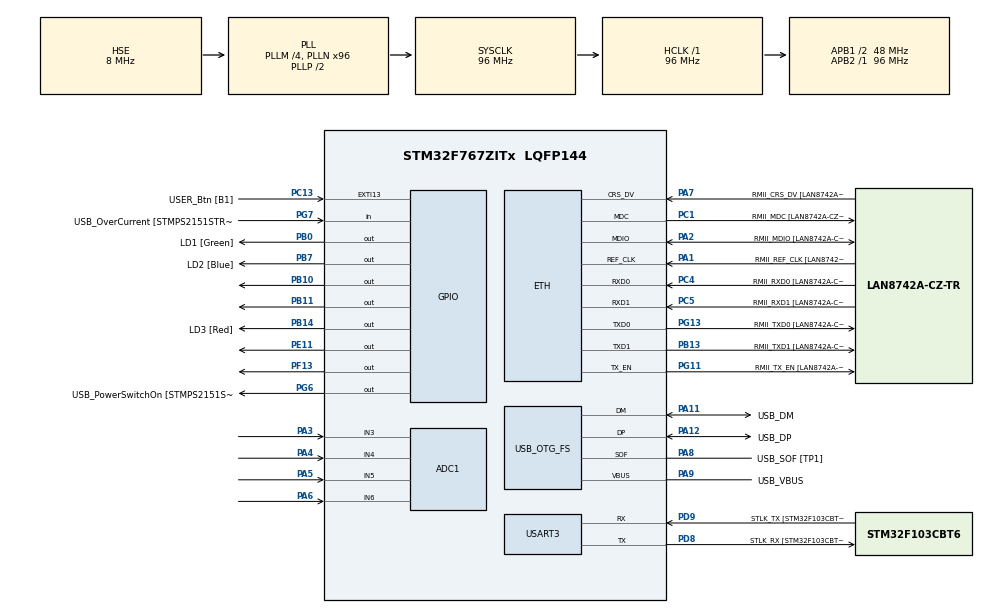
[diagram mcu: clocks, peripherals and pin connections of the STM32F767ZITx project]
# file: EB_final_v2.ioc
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ADC1.Channel-0\#ChannelRegularConversion=ADC_CHANNEL_3
ADC1.Channel-1\#ChannelRegularConversion=ADC_CHANNEL_4
ADC1.Channel-2\#ChannelRegularConversion=ADC_CHANNEL_5
ADC1.Channel-3\#ChannelRegularConversion=ADC_CHANNEL_6
ADC1.ContinuousConvMode=ENABLE
ADC1.DMAContinuousRequests=ENABLE
ADC1.NbrOfConversion=4
ADC1.NbrOfConversionFlag=1
ADC1.Rank-0\#ChannelRegularConversion=1
ADC1.Rank-1\#ChannelRegularConversion=2
ADC1.Rank-2\#ChannelRegularConversion=3
ADC1.Rank-3\#ChannelRegularConversion=4
ADC1.SamplingTime-0\#ChannelRegularConversion=ADC_SAMPLETIME_3CYCLES
ADC1.SamplingTime-1\#ChannelRegularConversion=ADC_SAMPLETIME_3CYCLES
ADC1.SamplingTime-2\#ChannelRegularConversion=ADC_SAMPLETIME_3CYCLES
ADC1.SamplingTime-3\#ChannelRegularConversion=ADC_SAMPLETIME_3CYCLES
ADC1.ScanConvMode=ADC_SCAN_ENABLE
ADC1.master=1
Dma.ADC1.0.Direction=DMA_PERIPH_TO_MEMORY
Dma.ADC1.0.FIFOMode=DMA_FIFOMODE_DISABLE
Dma.ADC1.0.Instance=DMA2_Stream0
Dma.ADC1.0.MemDataAlignment=DMA_MDATAALIGN_HALFWORD
Dma.ADC1.0.MemInc=DMA_MINC_ENABLE
Dma.ADC1.0.Mode=DMA_CIRCULAR
Dma.ADC1.0.PeriphDataAlignment=DMA_PDATAALIGN_HALFWORD
Dma.ADC1.0.PeriphInc=DMA_PINC_DISABLE
Dma.ADC1.0.Priority=DMA_PRIORITY_LOW
Dma.Request0=ADC1
ETH.MediaInterface=HAL_ETH_RMII_MODE
ETH.PHY_Name=LAN8742A_PHY_ADDRESS
ETH.PHY_Value=0
ETH.PhyAddress=0
Mcu.Family=STM32F7
Mcu.Name=STM32F767ZITx
Mcu.Package=LQFP144
NVIC.DMA2_Stream0_IRQn=true\:0\:0\:false\:false\:true\:false\:true\:true
NVIC.PriorityGroup=NVIC_PRIORITYGROUP_4
PA1.GPIO_Label=RMII_REF_CLK [LAN8742A-CZ-TR_REFCLK0]
PA1.Mode=RMII
PA1.Signal=ETH_REF_CLK
PA10.GPIO_Label=USB_ID
PA10.Signal=USB_OTG_FS_ID
PA11.GPIO_Label=USB_DM
PA11.Mode=Device_Only
PA11.Signal=USB_OTG_FS_DM
PA12.GPIO_Label=USB_DP
PA12.Mode=Device_Only
PA12.Signal=USB_OTG_FS_DP
PA13.GPIO_Label=TMS
PA13.Mode=Serial_Wire
PA13.Signal=SYS_JTMS-SWDIO
PA14.GPIO_Label=TCK
PA14.Mode=Serial_Wire
PA14.Signal=SYS_JTCK-SWCLK
PA2.GPIO_Label=RMII_MDIO [LAN8742A-CZ-TR_MDIO]
PA2.Mode=RMII
PA2.Signal=ETH_MDIO
PA3.Signal=ADCx_IN3
PA4.Signal=ADCx_IN4
PA5.Signal=ADCx_IN5
PA6.Signal=ADCx_IN6
PA7.GPIO_Label=RMII_CRS_DV [LAN8742A-CZ-TR_CRS_DV]
PA7.Mode=RMII
PA7.Signal=ETH_CRS_DV
PA8.GPIO_Label=USB_SOF [TP1]
PA8.Mode=Activate_SOF_FS
PA8.Signal=USB_OTG_FS_SOF
PA9.GPIO_Label=USB_VBUS
PA9.Mode=Activate_VBUS
PA9.Signal=USB_OTG_FS_VBUS
PB0.GPIO_Label=LD1 [Green]
PB0.Signal=GPIO_Output
PB10.Signal=GPIO_Output
PB11.Signal=GPIO_Output
PB13.GPIO_Label=RMII_TXD1 [LAN8742A-CZ-TR_TXD1]
PB13.Mode=RMII
PB13.Signal=ETH_TXD1
PB14.GPIO_Label=LD3 [Red]
PB14.Signal=GPIO_Output
PB3.GPIO_Label=SWO
PB3.Signal=SYS_JTDO-SWO
PB7.GPIO_Label=LD2 [Blue]
PB7.Signal=GPIO_Output
PC1.GPIO_Label=RMII_MDC [LAN8742A-CZ-TR_MDC]
PC1.Mode=RMII
PC1.Signal=ETH_MDC
PC13.GPIO_Label=USER_Btn [B1]
PC13.Signal=GPXTI13
PC14/OSC32_IN.Mode=LSE-External-Oscillator
PC14/OSC32_IN.Signal=RCC_OSC32_IN
PC15/OSC32_OUT.Mode=LSE-External-Oscillator
PC15/OSC32_OUT.Signal=RCC_OSC32_OUT
PC4.GPIO_Label=RMII_RXD0 [LAN8742A-CZ-TR_RXD0]
PC4.Mode=RMII
PC4.Signal=ETH_RXD0
PC5.GPIO_Label=RMII_RXD1 [LAN8742A-CZ-TR_RXD1]
PC5.Mode=RMII
PC5.Signal=ETH_RXD1
PD8.GPIO_Label=STLK_RX [STM32F103CBT6_PA3]
PD8.Mode=Asynchronous
PD8.Signal=USART3_TX
PD9.GPIO_Label=STLK_TX [STM32F103CBT6_PA2]
PD9.Mode=Asynchronous
PD9.Signal=USART3_RX
PE11.GPIO_PuPd=GPIO_NOPULL
PE11.PinState=GPIO_PIN_SET
PE11.Signal=GPIO_Output
PF13.GPIO_PuPd=GPIO_NOPULL
PF13.PinState=GPIO_PIN_SET
PF13.Signal=GPIO_Output
PG11.GPIO_Label=RMII_TX_EN [LAN8742A-CZ-TR_TXEN]
PG11.Mode=RMII
PG11.Signal=ETH_TX_EN
PG13.GPIO_Label=RMII_TXD0 [LAN8742A-CZ-TR_TXD0]
PG13.Mode=RMII
PG13.Signal=ETH_TXD0
PG6.GPIO_Label=USB_PowerSwitchOn [STMPS2151STR_EN]
PG6.Signal=GPIO_Output
PG7.GPIO_Label=USB_OverCurrent [STMPS2151STR_FAULT]
PG7.Signal=GPIO_Input
PH0/OSC_IN.GPIO_Label=MCO [STM32F103CBT6_PA8]
PH0/OSC_IN.Mode=HSE-External-Clock-Source
PH0/OSC_IN.Signal=RCC_OSC_IN
PH1/OSC_OUT.Mode=HSE-External-Clock-Source
PH1/OSC_OUT.Signal=RCC_OSC_OUT
ProjectManager.HeapSize=0x200
ProjectManager.StackSize=0x400
ProjectManager.TargetToolchain=STM32CubeIDE
RCC.48MHZClocksFreq_Value=24000000
RCC.AHBFreq_Value=96000000
RCC.APB1CLKDivider=RCC_HCLK_DIV2
RCC.APB1Freq_Value=48000000
RCC.APB1TimFreq_Value=96000000
RCC.APB2Freq_Value=96000000
RCC.APB2TimFreq_Value=96000000
RCC.CortexFreq_Value=96000000
RCC.HCLKFreq_Value=96000000
RCC.HSE_VALUE=8000000
RCC.HSI_VALUE=16000000
RCC.PLLM=4
RCC.PLLMUL=RCC_PLL_MUL9
RCC.PLLN=96
RCC.PLLQ=4
RCC.PRESCALERUSB=RCC_USBCLKSOURCE_PLL_DIV1_5
RCC.SYSCLKFreq_VALUE=96000000
RCC.SYSCLKSource=RCC_SYSCLKSOURCE_PLLCLK
RCC.SYSCLKSourceVirtual=RCC_SYSCLKSOURCE_PLLCLK
RCC.USBFreq_Value=48000000
RCC.VCOOutputFreq_Value=192000000
SH.ADCx_IN3.0=ADC1_IN3,IN3
SH.ADCx_IN4.0=ADC1_IN4,IN4
SH.ADCx_IN5.0=ADC1_IN5,IN5
SH.ADCx_IN6.0=ADC1_IN6,IN6
TIM1.Period=1000
TIM1.Prescaler=900
USART3.VirtualMode-Asynchronous=VM_ASYNC
USB_OTG_FS.VirtualMode=Device_Only
VP_TIM1_VS_ClockSourceINT.Mode=Internal
board=NUCLEO-F767ZI

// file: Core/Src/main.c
/* USER CODE BEGIN Header */
/**
  ******************************************************************************
  * @file           : main.c
  * @brief          : Main program body
  ******************************************************************************
  * @attention
  *
  * Copyright (c) 2023 STMicroelectronics.
  * All rights reserved.
  *
  * This software is licensed under terms that can be found in the LICENSE file
  * in the root directory of this software component.
  * If no LICENSE file comes with this software, it is provided AS-IS.
  *
  ******************************************************************************
  */
/* USER CODE END Header */
#include "main.h"
#include "string.h"

/* USER CODE BEGIN Includes */

#include "stdio.h"
#include "stdint.h"
/* USER CODE END Includes */

#if defined ( __ICCARM__ ) /*!< IAR Compiler */
#pragma location=0x2007c000
ETH_DMADescTypeDef  DMARxDscrTab[ETH_RX_DESC_CNT]; /* Ethernet Rx DMA Descriptors */
#pragma location=0x2007c0a0
ETH_DMADescTypeDef  DMATxDscrTab[ETH_TX_DESC_CNT]; /* Ethernet Tx DMA Descriptors */

#elif defined ( __CC_ARM )  /* MDK ARM Compiler */

__attribute__((at(0x2007c000))) ETH_DMADescTypeDef  DMARxDscrTab[ETH_RX_DESC_CNT]; /* Ethernet Rx DMA Descriptors */
__attribute__((at(0x2007c0a0))) ETH_DMADescTypeDef  DMATxDscrTab[ETH_TX_DESC_CNT]; /* Ethernet Tx DMA Descriptors */

#elif defined ( __GNUC__ ) /* GNU Compiler */
ETH_DMADescTypeDef DMARxDscrTab[ETH_RX_DESC_CNT] __attribute__((section(".RxDecripSection"))); /* Ethernet Rx DMA Descriptors */
ETH_DMADescTypeDef DMATxDscrTab[ETH_TX_DESC_CNT] __attribute__((section(".TxDecripSection")));   /* Ethernet Tx DMA Descriptors */

#endif

ETH_TxPacketConfig TxConfig;

ADC_HandleTypeDef hadc1;
DMA_HandleTypeDef hdma_adc1;

ETH_HandleTypeDef heth;

TIM_HandleTypeDef htim1;

UART_HandleTypeDef huart3;

PCD_HandleTypeDef hpcd_USB_OTG_FS;

void SystemClock_Config(void);
static void MX_GPIO_Init(void);
static void MX_DMA_Init(void);
static void MX_USART3_UART_Init(void);
static void MX_USB_OTG_FS_PCD_Init(void);
static void MX_ADC1_Init(void);
static void MX_ETH_Init(void);
static void MX_TIM1_Init(void);

/* USER CODE BEGIN 0 */

// This array hold the the channels ADC value
volatile uint16_t adc_dma_result[4];

// This variable calculate the array length.
// In our case, array size in 3
int adc_channel_count = sizeof(adc_dma_result)/sizeof(adc_dma_result[0]);
uint8_t adc_conv_complete_flag = 0;

// This character buffer array will
// store the result after conversion complete
//char dma_result_buffer[100];

int _write(int file, char *ptr, int len){
	int i=0;
	for(i=0;i<len;i++){
		ITM_SendChar((*ptr++));
	}
	return len;
}

int flag_forward, flag_backwoard, flag_left, flag_right;

void HAL_ADC_ConvCpltCallback(ADC_HandleTypeDef* hadc){

	  if (adc_dma_result[0] >= 3800){
		  //forward
		  printf("forward\n");
		  flag_forward = 1;
		  HAL_GPIO_WritePin(GPIOF, GPIO_PIN_13, 1); // Motor Left Forward
		  HAL_GPIO_WritePin(GPIOE, GPIO_PIN_11, 0); // Motor Left Backward

		  HAL_GPIO_WritePin(GPIOB, GPIO_PIN_10, 1); // Motor Right Forward
		  HAL_GPIO_WritePin(GPIOB, GPIO_PIN_11, 0); // Motor Right Backward
	  }else{
		  flag_forward = 0;
	  }
	  if (adc_dma_result[1] >= 3800){
		  //backward
		  printf("backward\n");
		  flag_backwoard =1;
		  HAL_GPIO_WritePin(GPIOF, GPIO_PIN_13, 0); // Motor Left Forward
		  HAL_GPIO_WritePin(GPIOE, GPIO_PIN_11, 1); // Motor Left Backward

		  HAL_GPIO_WritePin(GPIOB, GPIO_PIN_10, 0); // Motor Right Forward
		  HAL_GPIO_WritePin(GPIOB, GPIO_PIN_11, 1); // Motor Right Backward
	  }else{
		  flag_backwoard = 0;
	  }
	  if (adc_dma_result[2] >= 3800){
		  //left
		  printf("left\n");
		  flag_left = 1;
		  HAL_GPIO_WritePin(GPIOF, GPIO_PIN_13, 0); // Motor Left Forward
		  HAL_GPIO_WritePin(GPIOE, GPIO_PIN_11, 1); // Motor Left Backward

		  HAL_GPIO_WritePin(GPIOB, GPIO_PIN_10, 1); // Motor Right Forward
		  HAL_GPIO_WritePin(GPIOB, GPIO_PIN_11, 0); // Motor Right Backward
	  }else{
		  flag_left = 0;
	  }
	  if (adc_dma_result[3] >= 3800){
		  //right
		  printf("right\n");
		  flag_right =1;
		  HAL_GPIO_WritePin(GPIOF, GPIO_PIN_13, 1); // Motor Left Forward
		  HAL_GPIO_WritePin(GPIOE, GPIO_PIN_11, 0); // Motor Left Backward

		  HAL_GPIO_WritePin(GPIOB, GPIO_PIN_10, 0); // Motor Right Forward
		  HAL_GPIO_WritePin(GPIOB, GPIO_PIN_11, 1); // Motor Right Backward
	  }else{
		flag_right =0;
	  }
	  if (flag_forward + flag_backwoard + flag_left + flag_right != 1) {
		  HAL_GPIO_WritePin(GPIOF, GPIO_PIN_13, 0); // Motor Left Forward
		  HAL_GPIO_WritePin(GPIOE, GPIO_PIN_11, 0); // Motor Left Backward

		  HAL_GPIO_WritePin(GPIOB, GPIO_PIN_10, 0); // Motor Right Forward
		  HAL_GPIO_WritePin(GPIOB, GPIO_PIN_11, 0); // Motor Right Backward
	  }
}

/* USER CODE END 0 */

int main(void)
{
  /* USER CODE BEGIN 1 */
	flag_forward = 0;
	flag_backwoard = 0;
	flag_left = 0;
	flag_right = 0;

  /* USER CODE END 1 */

  /* MCU Configuration--------------------------------------------------------*/

  /* Reset of all peripherals, Initializes the Flash interface and the Systick. */
  HAL_Init();

  /* Configure the system clock */
  SystemClock_Config();

  /* Initialize all configured peripherals */
  MX_GPIO_Init();
  MX_DMA_Init();
  MX_USART3_UART_Init();
  MX_USB_OTG_FS_PCD_Init();
  MX_ADC1_Init();
  MX_ETH_Init();
  MX_TIM1_Init();
  /* USER CODE BEGIN 2 */
  // Initialize the DMA conversion
  HAL_ADC_Start_DMA(&hadc1, (uint32_t *) adc_dma_result , adc_channel_count);

  /* USER CODE END 2 */

  /* Infinite loop */
  while (1)
  {

  }
}

void SystemClock_Config(void)
{
  RCC_OscInitTypeDef RCC_OscInitStruct = {0};
  RCC_ClkInitTypeDef RCC_ClkInitStruct = {0};

  /** Configure LSE Drive Capability
  */
  HAL_PWR_EnableBkUpAccess();

  /** Configure the main internal regulator output voltage
  */
  __HAL_RCC_PWR_CLK_ENABLE();
  __HAL_PWR_VOLTAGESCALING_CONFIG(PWR_REGULATOR_VOLTAGE_SCALE3);

  /** Initializes the RCC Oscillators according to the specified parameters
  * in the RCC_OscInitTypeDef structure.
  */
  RCC_OscInitStruct.OscillatorType = RCC_OSCILLATORTYPE_HSE;
  RCC_OscInitStruct.HSEState = RCC_HSE_BYPASS;
  RCC_OscInitStruct.PLL.PLLState = RCC_PLL_ON;
  RCC_OscInitStruct.PLL.PLLSource = RCC_PLLSOURCE_HSE;
  RCC_OscInitStruct.PLL.PLLM = 4;
  RCC_OscInitStruct.PLL.PLLN = 96;
  RCC_OscInitStruct.PLL.PLLP = RCC_PLLP_DIV2;
  RCC_OscInitStruct.PLL.PLLQ = 4;
  RCC_OscInitStruct.PLL.PLLR = 2;
  if (HAL_RCC_OscConfig(&RCC_OscInitStruct) != HAL_OK)
  {
    Error_Handler();
  }

  /** Activate the Over-Drive mode
  */
  if (HAL_PWREx_EnableOverDrive() != HAL_OK)
  {
    Error_Handler();
  }

  /** Initializes the CPU, AHB and APB buses clocks
  */
  RCC_ClkInitStruct.ClockType = RCC_CLOCKTYPE_HCLK|RCC_CLOCKTYPE_SYSCLK
                              |RCC_CLOCKTYPE_PCLK1|RCC_CLOCKTYPE_PCLK2;
  RCC_ClkInitStruct.SYSCLKSource = RCC_SYSCLKSOURCE_PLLCLK;
  RCC_ClkInitStruct.AHBCLKDivider = RCC_SYSCLK_DIV1;
  RCC_ClkInitStruct.APB1CLKDivider = RCC_HCLK_DIV2;
  RCC_ClkInitStruct.APB2CLKDivider = RCC_HCLK_DIV1;

  if (HAL_RCC_ClockConfig(&RCC_ClkInitStruct, FLASH_LATENCY_3) != HAL_OK)
  {
    Error_Handler();
  }
}

static void MX_ADC1_Init(void)
{

  ADC_ChannelConfTypeDef sConfig = {0};

  /** Configure the global features of the ADC (Clock, Resolution, Data Alignment and number of conversion)
  */
  hadc1.Instance = ADC1;
  hadc1.Init.ClockPrescaler = ADC_CLOCK_SYNC_PCLK_DIV4;
  hadc1.Init.Resolution = ADC_RESOLUTION_12B;
  hadc1.Init.ScanConvMode = ADC_SCAN_ENABLE;
  hadc1.Init.ContinuousConvMode = ENABLE;
  hadc1.Init.DiscontinuousConvMode = DISABLE;
  hadc1.Init.ExternalTrigConvEdge = ADC_EXTERNALTRIGCONVEDGE_NONE;
  hadc1.Init.ExternalTrigConv = ADC_SOFTWARE_START;
  hadc1.Init.DataAlign = ADC_DATAALIGN_RIGHT;
  hadc1.Init.NbrOfConversion = 4;
  hadc1.Init.DMAContinuousRequests = ENABLE;
  hadc1.Init.EOCSelection = ADC_EOC_SINGLE_CONV;
  if (HAL_ADC_Init(&hadc1) != HAL_OK)
  {
    Error_Handler();
  }

  /** Configure for the selected ADC regular channel its corresponding rank in the sequencer and its sample time.
  */
  sConfig.Channel = ADC_CHANNEL_3;
  sConfig.Rank = ADC_REGULAR_RANK_1;
  sConfig.SamplingTime = ADC_SAMPLETIME_3CYCLES;
  if (HAL_ADC_ConfigChannel(&hadc1, &sConfig) != HAL_OK)
  {
    Error_Handler();
  }

  /** Configure for the selected ADC regular channel its corresponding rank in the sequencer and its sample time.
  */
  sConfig.Channel = ADC_CHANNEL_4;
  sConfig.Rank = ADC_REGULAR_RANK_2;
  if (HAL_ADC_ConfigChannel(&hadc1, &sConfig) != HAL_OK)
  {
    Error_Handler();
  }

  /** Configure for the selected ADC regular channel its corresponding rank in the sequencer and its sample time.
  */
  sConfig.Channel = ADC_CHANNEL_5;
  sConfig.Rank = ADC_REGULAR_RANK_3;
  if (HAL_ADC_ConfigChannel(&hadc1, &sConfig) != HAL_OK)
  {
    Error_Handler();
  }

  /** Configure for the selected ADC regular channel its corresponding rank in the sequencer and its sample time.
  */
  sConfig.Channel = ADC_CHANNEL_6;
  sConfig.Rank = ADC_REGULAR_RANK_4;
  if (HAL_ADC_ConfigChannel(&hadc1, &sConfig) != HAL_OK)
  {
    Error_Handler();
  }

}

static void MX_ETH_Init(void)
{

   static uint8_t MACAddr[6];

  heth.Instance = ETH;
  MACAddr[0] = 0x00;
  MACAddr[1] = 0x80;
  MACAddr[2] = 0xE1;
  MACAddr[3] = 0x00;
  MACAddr[4] = 0x00;
  MACAddr[5] = 0x00;
  heth.Init.MACAddr = &MACAddr[0];
  heth.Init.MediaInterface = HAL_ETH_RMII_MODE;
  heth.Init.TxDesc = DMATxDscrTab;
  heth.Init.RxDesc = DMARxDscrTab;
  heth.Init.RxBuffLen = 1524;

  if (HAL_ETH_Init(&heth) != HAL_OK)
  {
    Error_Handler();
  }

  memset(&TxConfig, 0 , sizeof(ETH_TxPacketConfig));
  TxConfig.Attributes = ETH_TX_PACKETS_FEATURES_CSUM | ETH_TX_PACKETS_FEATURES_CRCPAD;
  TxConfig.ChecksumCtrl = ETH_CHECKSUM_IPHDR_PAYLOAD_INSERT_PHDR_CALC;
  TxConfig.CRCPadCtrl = ETH_CRC_PAD_INSERT;

}

static void MX_TIM1_Init(void)
{

  TIM_ClockConfigTypeDef sClockSourceConfig = {0};
  TIM_MasterConfigTypeDef sMasterConfig = {0};

  htim1.Instance = TIM1;
  htim1.Init.Prescaler = 900;
  htim1.Init.CounterMode = TIM_COUNTERMODE_UP;
  htim1.Init.Period = 1000;
  htim1.Init.ClockDivision = TIM_CLOCKDIVISION_DIV1;
  htim1.Init.RepetitionCounter = 0;
  htim1.Init.AutoReloadPreload = TIM_AUTORELOAD_PRELOAD_DISABLE;
  if (HAL_TIM_Base_Init(&htim1) != HAL_OK)
  {
    Error_Handler();
  }
  sClockSourceConfig.ClockSource = TIM_CLOCKSOURCE_INTERNAL;
  if (HAL_TIM_ConfigClockSource(&htim1, &sClockSourceConfig) != HAL_OK)
  {
    Error_Handler();
  }
  sMasterConfig.MasterOutputTrigger = TIM_TRGO_RESET;
  sMasterConfig.MasterOutputTrigger2 = TIM_TRGO2_RESET;
  sMasterConfig.MasterSlaveMode = TIM_MASTERSLAVEMODE_DISABLE;
  if (HAL_TIMEx_MasterConfigSynchronization(&htim1, &sMasterConfig) != HAL_OK)
  {
    Error_Handler();
  }

}

static void MX_USART3_UART_Init(void)
{

  huart3.Instance = USART3;
  huart3.Init.BaudRate = 115200;
  huart3.Init.WordLength = UART_WORDLENGTH_8B;
  huart3.Init.StopBits = UART_STOPBITS_1;
  huart3.Init.Parity = UART_PARITY_NONE;
  huart3.Init.Mode = UART_MODE_TX_RX;
  huart3.Init.HwFlowCtl = UART_HWCONTROL_NONE;
  huart3.Init.OverSampling = UART_OVERSAMPLING_16;
  huart3.Init.OneBitSampling = UART_ONE_BIT_SAMPLE_DISABLE;
  huart3.AdvancedInit.AdvFeatureInit = UART_ADVFEATURE_NO_INIT;
  if (HAL_UART_Init(&huart3) != HAL_OK)
  {
    Error_Handler();
  }

}

static void MX_USB_OTG_FS_PCD_Init(void)
{

  hpcd_USB_OTG_FS.Instance = USB_OTG_FS;
  hpcd_USB_OTG_FS.Init.dev_endpoints = 6;
  hpcd_USB_OTG_FS.Init.speed = PCD_SPEED_FULL;
  hpcd_USB_OTG_FS.Init.dma_enable = DISABLE;
  hpcd_USB_OTG_FS.Init.phy_itface = PCD_PHY_EMBEDDED;
  hpcd_USB_OTG_FS.Init.Sof_enable = ENABLE;
  hpcd_USB_OTG_FS.Init.low_power_enable = DISABLE;
  hpcd_USB_OTG_FS.Init.lpm_enable = DISABLE;
  hpcd_USB_OTG_FS.Init.vbus_sensing_enable = ENABLE;
  hpcd_USB_OTG_FS.Init.use_dedicated_ep1 = DISABLE;
  if (HAL_PCD_Init(&hpcd_USB_OTG_FS) != HAL_OK)
  {
    Error_Handler();
  }

}

static void MX_DMA_Init(void)
{

  /* DMA controller clock enable */
  __HAL_RCC_DMA2_CLK_ENABLE();

  /* DMA interrupt init */
  /* DMA2_Stream0_IRQn interrupt configuration */
  HAL_NVIC_SetPriority(DMA2_Stream0_IRQn, 0, 0);
  HAL_NVIC_EnableIRQ(DMA2_Stream0_IRQn);

}

static void MX_GPIO_Init(void)
{
  GPIO_InitTypeDef GPIO_InitStruct = {0};

  /* GPIO Ports Clock Enable */
  __HAL_RCC_GPIOC_CLK_ENABLE();
  __HAL_RCC_GPIOH_CLK_ENABLE();
  __HAL_RCC_GPIOA_CLK_ENABLE();
  __HAL_RCC_GPIOB_CLK_ENABLE();
  __HAL_RCC_GPIOF_CLK_ENABLE();
  __HAL_RCC_GPIOE_CLK_ENABLE();
  __HAL_RCC_GPIOD_CLK_ENABLE();
  __HAL_RCC_GPIOG_CLK_ENABLE();

  /*Configure GPIO pin Output Level */
  HAL_GPIO_WritePin(GPIOB, LD1_Pin|GPIO_PIN_10|GPIO_PIN_11|LD3_Pin
                          |LD2_Pin, GPIO_PIN_RESET);

  /*Configure GPIO pin Output Level */
  HAL_GPIO_WritePin(GPIOF, GPIO_PIN_13, GPIO_PIN_SET);

  /*Configure GPIO pin Output Level */
  HAL_GPIO_WritePin(GPIOE, GPIO_PIN_11, GPIO_PIN_SET);

  /*Configure GPIO pin Output Level */
  HAL_GPIO_WritePin(USB_PowerSwitchOn_GPIO_Port, USB_PowerSwitchOn_Pin, GPIO_PIN_RESET);

  /*Configure GPIO pin : USER_Btn_Pin */
  GPIO_InitStruct.Pin = USER_Btn_Pin;
  GPIO_InitStruct.Mode = GPIO_MODE_IT_RISING;
  GPIO_InitStruct.Pull = GPIO_NOPULL;
  HAL_GPIO_Init(USER_Btn_GPIO_Port, &GPIO_InitStruct);

  /*Configure GPIO pins : LD1_Pin PB10 PB11 LD3_Pin
                           LD2_Pin */
  GPIO_InitStruct.Pin = LD1_Pin|GPIO_PIN_10|GPIO_PIN_11|LD3_Pin
                          |LD2_Pin;
  GPIO_InitStruct.Mode = GPIO_MODE_OUTPUT_PP;
  GPIO_InitStruct.Pull = GPIO_NOPULL;
  GPIO_InitStruct.Speed = GPIO_SPEED_FREQ_LOW;
  HAL_GPIO_Init(GPIOB, &GPIO_InitStruct);

  /*Configure GPIO pin : PF13 */
  GPIO_InitStruct.Pin = GPIO_PIN_13;
  GPIO_InitStruct.Mode = GPIO_MODE_OUTPUT_PP;
  GPIO_InitStruct.Pull = GPIO_NOPULL;
  GPIO_InitStruct.Speed = GPIO_SPEED_FREQ_LOW;
  HAL_GPIO_Init(GPIOF, &GPIO_InitStruct);

  /*Configure GPIO pin : PE11 */
  GPIO_InitStruct.Pin = GPIO_PIN_11;
  GPIO_InitStruct.Mode = GPIO_MODE_OUTPUT_PP;
  GPIO_InitStruct.Pull = GPIO_NOPULL;
  GPIO_InitStruct.Speed = GPIO_SPEED_FREQ_LOW;
  HAL_GPIO_Init(GPIOE, &GPIO_InitStruct);

  /*Configure GPIO pin : USB_PowerSwitchOn_Pin */
  GPIO_InitStruct.Pin = USB_PowerSwitchOn_Pin;
  GPIO_InitStruct.Mode = GPIO_MODE_OUTPUT_PP;
  GPIO_InitStruct.Pull = GPIO_NOPULL;
  GPIO_InitStruct.Speed = GPIO_SPEED_FREQ_LOW;
  HAL_GPIO_Init(USB_PowerSwitchOn_GPIO_Port, &GPIO_InitStruct);

  /*Configure GPIO pin : USB_OverCurrent_Pin */
  GPIO_InitStruct.Pin = USB_OverCurrent_Pin;
  GPIO_InitStruct.Mode = GPIO_MODE_INPUT;
  GPIO_InitStruct.Pull = GPIO_NOPULL;
  HAL_GPIO_Init(USB_OverCurrent_GPIO_Port, &GPIO_InitStruct);

}

void Error_Handler(void)
{
  __disable_irq();
  while (1)
  {
  }
}
